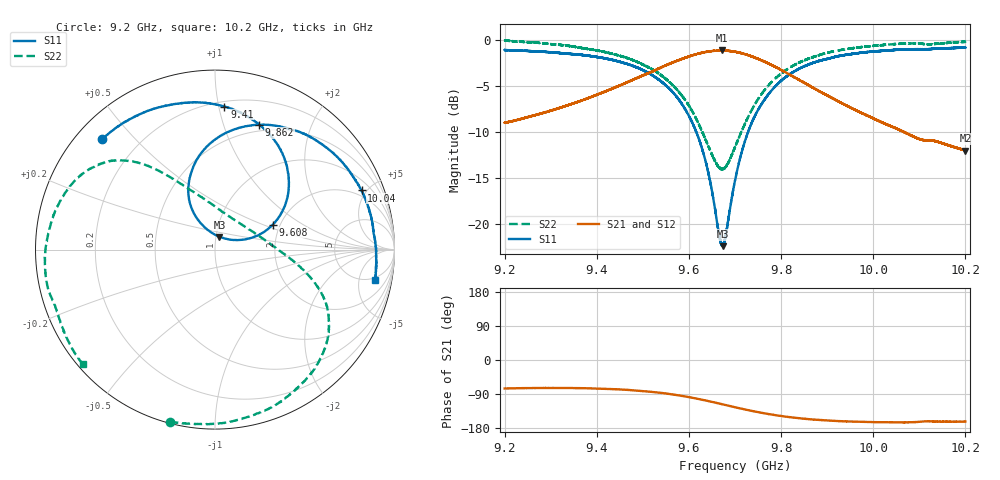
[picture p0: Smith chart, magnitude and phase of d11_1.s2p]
!Agilent Technologies,N5242A,MY51221714,A.09.90.19
!Agilent N5242A: A.09.90.19
!Date: Tuesday, March 26, 2024 16:29:18
!Correction: S11(Full 2 Port(1,2))
!S21(Full 2 Port(1,2))
!S12(Full 2 Port(1,2))
!S22(Full 2 Port(1,2))
!S2P File: Measurements: S11, S21, S12, S22:
# Hz S  dB  R 50
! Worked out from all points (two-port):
!   16001 points, 9.2 GHz to 10.2 GHz, reference 50 ohm
!   highest |S21| = -1.16 dB at 9.672 GHz (marker M1); lowest = -12.1 dB at 10.2 GHz (marker M2)
!   |S21| within 3 dB of the highest: 9.488 GHz to 9.831 GHz (343.5 MHz wide, 3.56 % of centre); 9.831437 GHz to 9.831618 GHz (180.7 kHz wide, 0.00184 % of centre)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
!   lowest |S11| = -22.5 dB at 9.673 GHz (marker M3), VSWR 1.16, Z = 52 + j7.44 ohm
!   |S11| at or under -10 dB: 9.615586 GHz to 9.615742 GHz (155.9 kHz wide, 0.00162 % of centre); 9.616 GHz to 9.729 GHz (112.8 MHz wide, 1.17 % of centre); 9.72857 GHz to 9.728643 GHz (72.37 kHz wide, 0.000744 % of centre)
!   |S22| runs from -14.1 to -0.1 dB; largest |S21 - S12| = 0.011
!   S11 on the Smith chart (normalised r, x): 9.2 GHz: 0.07, +0.41; 9.41 GHz: 0.24, +1.04; 9.608 GHz: 1.83, +0.58; 9.862 GHz: 0.43, +1.32; 10.04 GHz: 1.58, +4.63; 10.2 GHz: 4.30, -8.36
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9.2e9  -1.11 135.7  -9.03 -75.1  -9.02 -75.9  -0.09 -104.6
9.279312e9  -1.31 118.2  -8.03 -73.9  -8.01 -74.5  -0.36 -83.2
9.366688e9  -1.65 97.5  -6.62 -74.3  -6.60 -75.0  -0.89 -60.9
9.409938e9  -1.95 86.3  -5.79 -75.6  -5.78 -76.3  -1.25 -50.3
9.471562e9  -2.73 68.8  -4.50 -79.4  -4.50 -80.0  -2.08 -36.5
9.533375e9  -4.31 48.9  -3.16 -85.9  -3.14 -86.5  -3.61 -23.5
9.57125e9  -6.07 35.8  -2.34 -92.2  -2.34 -92.8  -5.28 -15.7
9.608e9  -9.11 23.4  -1.69 -99.8  -1.69 -100.4  -7.86 -5.4
9.637688e9  -13.56 18.0  -1.32 -107.2  -1.32 -107.7  -11.07 11.3
9.672062e9  -22.39 65.3  -1.16 -116.7  -1.17 -117.3  -14.08 56.4
9.673375e9  -22.46 70.8  -1.17 -117.1  -1.16 -117.6  -14.07 58.7
9.7e9  -15.33 118.8  -1.30 -124.6  -1.29 -125.2  -11.67 95.7
9.726188e9  -10.33 118.0  -1.63 -131.8  -1.62 -132.4  -8.65 113.5
9.7585e9  -6.93 107.0  -2.26 -139.5  -2.25 -140.1  -5.85 123.8
9.81125e9  -4.01 87.8  -3.58 -149.7  -3.59 -150.2  -3.28 134.0
9.862375e9  -2.64 70.5  -5.01 -156.4  -5.02 -156.9  -2.00 143.0
9.866688e9  -2.56 69.2  -5.13 -156.8  -5.15 -157.2  -1.92 143.7
9.934375e9  -1.69 49.3  -6.96 -161.7  -6.98 -162.3  -1.07 157.0
1.003338e10  -1.15 24.5  -9.31 -164.3  -9.30 -164.9  -0.52 179.0
1.004412e10  -1.11 22.0  -9.52 -164.4  -9.52 -164.9  -0.47 -178.4
1.009944e10  -1.02 9.4  -10.79 -163.2  -10.79 -163.8  -0.42 -165.6
1.02e10  -0.84 -10.8  -12.05 -162.4  -12.03 -163.1  -0.23 -139.2
